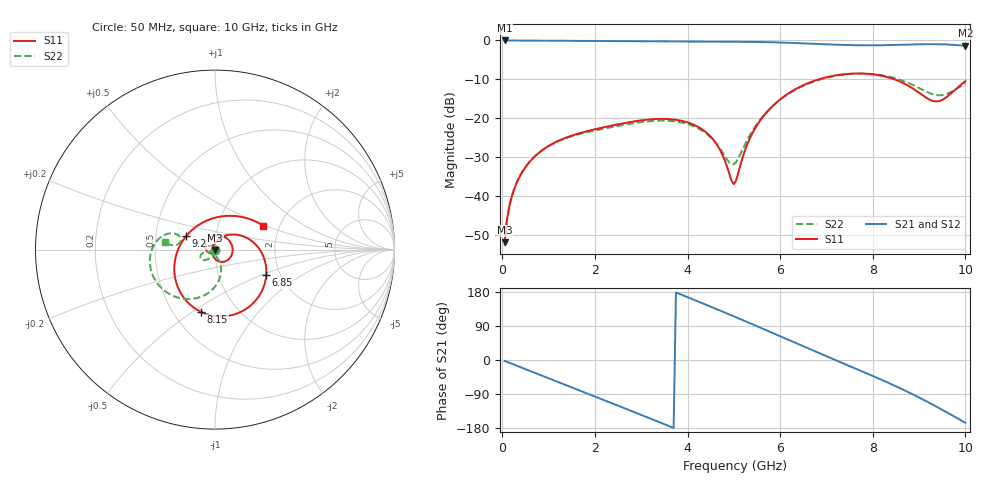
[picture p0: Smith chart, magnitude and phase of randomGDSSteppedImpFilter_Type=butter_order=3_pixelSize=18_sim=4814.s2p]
! freq	dB(S11)	phase(S11)	dB(S12)	phase(S12)
!  dB(S21)	phase(S21)	dB(S22)	phase(S22)
!S-par simulation data
#  GHz  S  DB  R 50
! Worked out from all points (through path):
!   200 points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, 50 MHz to 10 GHz, reference 50 ohm
!   highest |S21| = 0.00 dB at 50 MHz (marker M1); lowest = -1.4 dB at 10 GHz (marker M2)
!   group delay of S21, straight-line fit = 143 ps
!   lowest |S11| = -51.8 dB at 50 MHz (marker M3), VSWR 1.01, Z = 50 - j0.258 ohm
!   |S11| at or under -10 dB: start of sweep to 6.831 GHz; 8.469 GHz to end of sweep
!   |S22| runs from -52.8 to -8.5 dB; largest |S21 - S12| = 0
!   S11 on the Smith chart (normalised r, x): 50 MHz: 1.00, -0.01; 6.85 GHz: 1.69, -0.53; 8.15 GHz: 0.68, -0.54; 9.2 GHz: 0.72, +0.11; 10 GHz: 1.65, +0.48
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0.05  -51.77 -90.2  -0.00 -2.4  -0.00 -2.4  -52.80 -85.8
0.1  -45.98 -94.0  -0.01 -4.9  -0.01 -4.9  -46.43 -88.4
0.2  -40.26 -102.3  -0.02 -9.7  -0.02 -9.7  -40.25 -92.7
0.5  -32.55 -126.3  -0.04 -24.1  -0.04 -24.1  -32.47 -101.9
1.15  -26.11 -176.3  -0.08 -55.4  -0.08 -55.4  -26.16 -117.0
1.75  -23.54 134.6  -0.12 -84.2  -0.12 -84.2  -23.78 -125.9
2.5  -21.52 70.3  -0.17 -120.5  -0.17 -120.5  -21.94 -133.0
3.4  -20.13 -1.7  -0.25 -164.5  -0.25 -164.5  -20.58 -146.1
4.4  -23.58 -74.9  -0.30 145.8  -0.30 145.8  -23.87 -165.7
4.7  -28.04 -102.6  -0.32 130.6  -0.32 130.6  -27.74 -161.4
4.95  -36.00 -161.8  -0.33 117.8  -0.33 117.8  -31.80 -126.1
5.05  -35.89 140.7  -0.33 112.6  -0.33 112.6  -31.19 -101.3
5.3  -26.38 79.3  -0.36 99.6  -0.36 99.6  -25.33 -71.9
5.6  -20.05 52.1  -0.41 83.8  -0.41 83.8  -19.84 -71.2
6.7  -10.52 -17.7  -0.85 25.5  -0.85 25.5  -10.66 -112.0
6.85  -9.93 -26.4  -0.92 17.7  -0.92 17.7  -10.07 -118.6
7.5  -8.55 -63.5  -1.19 -16.0  -1.19 -16.0  -8.63 -147.4
8.15  -8.97 -102.5  -1.23 -50.1  -1.23 -50.1  -8.85 -175.4
8.35  -9.54 -115.9  -1.19 -61.0  -1.19 -61.0  -9.29 176.5
9.2  -15.01 155.1  -0.95 -111.6  -0.95 -111.6  -13.38 159.2
9.5  -15.26 97.1  -0.99 -131.4  -0.99 -131.4  -14.03 168.2
10  -10.45 26.2  -1.38 -165.7  -1.38 -165.7  -10.99 171.1
